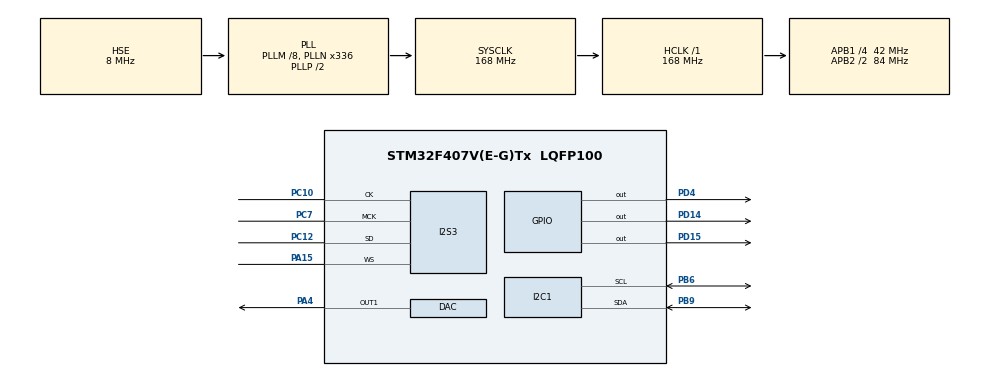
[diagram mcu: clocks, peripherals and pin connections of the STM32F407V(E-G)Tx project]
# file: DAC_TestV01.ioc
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Dma.Request0=SPI3_TX
Dma.SPI3_TX.0.Direction=DMA_MEMORY_TO_PERIPH
Dma.SPI3_TX.0.FIFOMode=DMA_FIFOMODE_ENABLE
Dma.SPI3_TX.0.FIFOThreshold=DMA_FIFO_THRESHOLD_FULL
Dma.SPI3_TX.0.Instance=DMA1_Stream5
Dma.SPI3_TX.0.MemBurst=DMA_MBURST_SINGLE
Dma.SPI3_TX.0.MemDataAlignment=DMA_MDATAALIGN_HALFWORD
Dma.SPI3_TX.0.MemInc=DMA_MINC_ENABLE
Dma.SPI3_TX.0.Mode=DMA_CIRCULAR
Dma.SPI3_TX.0.PeriphBurst=DMA_PBURST_SINGLE
Dma.SPI3_TX.0.PeriphDataAlignment=DMA_PDATAALIGN_HALFWORD
Dma.SPI3_TX.0.PeriphInc=DMA_PINC_DISABLE
Dma.SPI3_TX.0.Priority=DMA_PRIORITY_LOW
I2S3.AudioFreq=I2S_AUDIOFREQ_48K
I2S3.ErrorAudioFreq=-2.34 %
I2S3.FullDuplexMode=I2S_FULLDUPLEXMODE_DISABLE
I2S3.Instance=SPI$Index
I2S3.RealAudioFreq=46.875 KHz
I2S3.VirtualMode=I2S_MODE_MASTER
Mcu.Family=STM32F4
Mcu.Name=STM32F407V(E-G)Tx
Mcu.Package=LQFP100
NVIC.DMA1_Stream5_IRQn=true\:0\:0\:false\:false\:true\:false\:true
NVIC.PriorityGroup=NVIC_PRIORITYGROUP_0
NVIC.TIM2_IRQn=true\:0\:0\:false\:false\:true\:true\:true
PA13.Mode=Serial_Wire
PA13.Signal=SYS_JTMS-SWDIO
PA14.Mode=Serial_Wire
PA14.Signal=SYS_JTCK-SWCLK
PA15.Mode=Half_Duplex_Master
PA15.Signal=I2S3_WS
PA4.Signal=COMP_DAC1_group
PB6.Mode=I2C
PB6.Signal=I2C1_SCL
PB9.Mode=I2C
PB9.Signal=I2C1_SDA
PC10.Mode=Half_Duplex_Master
PC10.Signal=I2S3_CK
PC12.Mode=Half_Duplex_Master
PC12.Signal=I2S3_SD
PC7.Mode=Master_Clock_Activated
PC7.Signal=I2S3_MCK
PD14.Signal=GPIO_Output
PD15.Signal=GPIO_Output
PD4.Signal=GPIO_Output
PH0-OSC_IN.Mode=HSE-External-Oscillator
PH0-OSC_IN.Signal=RCC_OSC_IN
PH1-OSC_OUT.Mode=HSE-External-Oscillator
PH1-OSC_OUT.Signal=RCC_OSC_OUT
ProjectManager.HeapSize=0x200
ProjectManager.StackSize=0x400
ProjectManager.TargetToolchain=STM32CubeIDE
RCC.48MHZClocksFreq_Value=48000000
RCC.AHBFreq_Value=168000000
RCC.APB1CLKDivider=RCC_HCLK_DIV4
RCC.APB1Freq_Value=42000000
RCC.APB1TimFreq_Value=84000000
RCC.APB2CLKDivider=RCC_HCLK_DIV2
RCC.APB2Freq_Value=84000000
RCC.APB2TimFreq_Value=168000000
RCC.CortexFreq_Value=168000000
RCC.HCLKFreq_Value=168000000
RCC.HSE_VALUE=8000000
RCC.HSI_VALUE=16000000
RCC.PLLM=8
RCC.PLLN=336
RCC.PLLQ=7
RCC.PLLSourceVirtual=RCC_PLLSOURCE_HSE
RCC.SYSCLKFreq_VALUE=168000000
RCC.SYSCLKSource=RCC_SYSCLKSOURCE_PLLCLK
RCC.VCOOutputFreq_Value=336000000
SH.COMP_DAC1_group.0=DAC_OUT1,DAC_OUT1
TIM2.Period=19
TIM2.Prescaler=83
TIM2.TIM_MasterOutputTrigger=TIM_TRGO_UPDATE
VP_TIM2_VS_ClockSourceINT.Mode=Internal
board=STM32F407G-DISC1

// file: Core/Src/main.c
/* USER CODE BEGIN Header */
/**
  ******************************************************************************
  * @file           : main.c
  * @brief          : Main program body
  ******************************************************************************
  * @attention
  *
  * Copyright (c) 2022 STMicroelectronics.
  * All rights reserved.
  *
  * This software is licensed under terms that can be found in the LICENSE file
  * in the root directory of this software component.
  * If no LICENSE file comes with this software, it is provided AS-IS.
  *
  ******************************************************************************
  */
/* USER CODE END Header */
#include "main.h"

/* USER CODE BEGIN Includes */
#include "MY_CS43L22.h"
#include "math.h"
/* USER CODE END Includes */

DAC_HandleTypeDef hdac;

I2C_HandleTypeDef hi2c1;

I2S_HandleTypeDef hi2s3;
DMA_HandleTypeDef hdma_spi3_tx;

TIM_HandleTypeDef htim2;

/* USER CODE BEGIN PV */
#define PI 3.14159264f
#define F_SAMPLE 50000.0f
#define F_OUT 1000.0f
/* USER CODE END PV */

void SystemClock_Config(void);
static void MX_GPIO_Init(void);
static void MX_I2C1_Init(void);
static void MX_DMA_Init(void);
static void MX_DAC_Init(void);
static void MX_TIM2_Init(void);
static void MX_I2S3_Init(void);

/* USER CODE BEGIN 0 */
float mySinVal;
uint16_t sample_n;
float sample_dt;
uint16_t i_t;
uint32_t myDACVal;
int16_t I2S_Dummy[4];
/* USER CODE END 0 */

int main(void)
{
  /* USER CODE BEGIN 1 */
	sample_n = F_SAMPLE/F_OUT;
	sample_dt = (float) 1/sample_n;

  /* USER CODE END 1 */

  /* MCU Configuration--------------------------------------------------------*/

  /* Reset of all peripherals, Initializes the Flash interface and the Systick. */
  HAL_Init();

  /* Configure the system clock */
  SystemClock_Config();

  /* Initialize all configured peripherals */
  MX_GPIO_Init();
  MX_I2C1_Init();
  MX_DMA_Init();
  MX_DAC_Init();
  MX_TIM2_Init();
  MX_I2S3_Init();
  /* USER CODE BEGIN 2 */
  CS43_Init(hi2c1,MODE_ANALOG_CS43);
  CS43_SetVolume(50);
  CS43_Enable_RightLeft(CS43_RIGHT_LEFT);
  CS43_Start();

  HAL_I2S_Transmit_DMA(&hi2s3,(uint16_t * )I2S_Dummy,4);
  // Inicializa el dac

  HAL_DAC_Start(&hdac,DAC_CHANNEL_1);
  HAL_TIM_Base_Start_IT(&htim2);

  /* USER CODE END 2 */

  /* Infinite loop */
  while (1)
  {

    /* USER CODE BEGIN 3 */
	  HAL_GPIO_TogglePin(GPIOD,GPIO_PIN_14);
	  HAL_GPIO_WritePin(GPIOD, GPIO_PIN_4, GPIO_PIN_SET);
	  HAL_Delay(1000);
	  HAL_GPIO_TogglePin(GPIOD,GPIO_PIN_14);
	  HAL_GPIO_WritePin(GPIOD, GPIO_PIN_4, GPIO_PIN_RESET);
	  HAL_Delay(1000);

  }
  /* USER CODE END 3 */
}

void SystemClock_Config(void)
{
  RCC_OscInitTypeDef RCC_OscInitStruct = {0};
  RCC_ClkInitTypeDef RCC_ClkInitStruct = {0};

  /** Configure the main internal regulator output voltage
  */
  __HAL_RCC_PWR_CLK_ENABLE();
  __HAL_PWR_VOLTAGESCALING_CONFIG(PWR_REGULATOR_VOLTAGE_SCALE1);
  /** Initializes the RCC Oscillators according to the specified parameters
  * in the RCC_OscInitTypeDef structure.
  */
  RCC_OscInitStruct.OscillatorType = RCC_OSCILLATORTYPE_HSE;
  RCC_OscInitStruct.HSEState = RCC_HSE_ON;
  RCC_OscInitStruct.PLL.PLLState = RCC_PLL_ON;
  RCC_OscInitStruct.PLL.PLLSource = RCC_PLLSOURCE_HSE;
  RCC_OscInitStruct.PLL.PLLM = 8;
  RCC_OscInitStruct.PLL.PLLN = 336;
  RCC_OscInitStruct.PLL.PLLP = RCC_PLLP_DIV2;
  RCC_OscInitStruct.PLL.PLLQ = 7;
  if (HAL_RCC_OscConfig(&RCC_OscInitStruct) != HAL_OK)
  {
    Error_Handler();
  }
  /** Initializes the CPU, AHB and APB buses clocks
  */
  RCC_ClkInitStruct.ClockType = RCC_CLOCKTYPE_HCLK|RCC_CLOCKTYPE_SYSCLK
                              |RCC_CLOCKTYPE_PCLK1|RCC_CLOCKTYPE_PCLK2;
  RCC_ClkInitStruct.SYSCLKSource = RCC_SYSCLKSOURCE_PLLCLK;
  RCC_ClkInitStruct.AHBCLKDivider = RCC_SYSCLK_DIV1;
  RCC_ClkInitStruct.APB1CLKDivider = RCC_HCLK_DIV4;
  RCC_ClkInitStruct.APB2CLKDivider = RCC_HCLK_DIV2;

  if (HAL_RCC_ClockConfig(&RCC_ClkInitStruct, FLASH_LATENCY_5) != HAL_OK)
  {
    Error_Handler();
  }
}

static void MX_DAC_Init(void)
{

  DAC_ChannelConfTypeDef sConfig = {0};

  /** DAC Initialization
  */
  hdac.Instance = DAC;
  if (HAL_DAC_Init(&hdac) != HAL_OK)
  {
    Error_Handler();
  }
  /** DAC channel OUT1 config
  */
  sConfig.DAC_Trigger = DAC_TRIGGER_NONE;
  sConfig.DAC_OutputBuffer = DAC_OUTPUTBUFFER_ENABLE;
  if (HAL_DAC_ConfigChannel(&hdac, &sConfig, DAC_CHANNEL_1) != HAL_OK)
  {
    Error_Handler();
  }

}

static void MX_I2C1_Init(void)
{

  hi2c1.Instance = I2C1;
  hi2c1.Init.ClockSpeed = 100000;
  hi2c1.Init.DutyCycle = I2C_DUTYCYCLE_2;
  hi2c1.Init.OwnAddress1 = 0;
  hi2c1.Init.AddressingMode = I2C_ADDRESSINGMODE_7BIT;
  hi2c1.Init.DualAddressMode = I2C_DUALADDRESS_DISABLE;
  hi2c1.Init.OwnAddress2 = 0;
  hi2c1.Init.GeneralCallMode = I2C_GENERALCALL_DISABLE;
  hi2c1.Init.NoStretchMode = I2C_NOSTRETCH_DISABLE;
  if (HAL_I2C_Init(&hi2c1) != HAL_OK)
  {
    Error_Handler();
  }

}

static void MX_I2S3_Init(void)
{

  hi2s3.Instance = SPI3;
  hi2s3.Init.Mode = I2S_MODE_MASTER_TX;
  hi2s3.Init.Standard = I2S_STANDARD_PHILIPS;
  hi2s3.Init.DataFormat = I2S_DATAFORMAT_16B;
  hi2s3.Init.MCLKOutput = I2S_MCLKOUTPUT_ENABLE;
  hi2s3.Init.AudioFreq = I2S_AUDIOFREQ_48K;
  hi2s3.Init.CPOL = I2S_CPOL_LOW;
  hi2s3.Init.ClockSource = I2S_CLOCK_PLL;
  hi2s3.Init.FullDuplexMode = I2S_FULLDUPLEXMODE_DISABLE;
  if (HAL_I2S_Init(&hi2s3) != HAL_OK)
  {
    Error_Handler();
  }

}

static void MX_TIM2_Init(void)
{

  TIM_ClockConfigTypeDef sClockSourceConfig = {0};
  TIM_MasterConfigTypeDef sMasterConfig = {0};

  htim2.Instance = TIM2;
  htim2.Init.Prescaler = 83;
  htim2.Init.CounterMode = TIM_COUNTERMODE_UP;
  htim2.Init.Period = 19;
  htim2.Init.ClockDivision = TIM_CLOCKDIVISION_DIV1;
  htim2.Init.AutoReloadPreload = TIM_AUTORELOAD_PRELOAD_DISABLE;
  if (HAL_TIM_Base_Init(&htim2) != HAL_OK)
  {
    Error_Handler();
  }
  sClockSourceConfig.ClockSource = TIM_CLOCKSOURCE_INTERNAL;
  if (HAL_TIM_ConfigClockSource(&htim2, &sClockSourceConfig) != HAL_OK)
  {
    Error_Handler();
  }
  sMasterConfig.MasterOutputTrigger = TIM_TRGO_UPDATE;
  sMasterConfig.MasterSlaveMode = TIM_MASTERSLAVEMODE_DISABLE;
  if (HAL_TIMEx_MasterConfigSynchronization(&htim2, &sMasterConfig) != HAL_OK)
  {
    Error_Handler();
  }

}

static void MX_DMA_Init(void)
{

  /* DMA controller clock enable */
  __HAL_RCC_DMA1_CLK_ENABLE();

  /* DMA interrupt init */
  /* DMA1_Stream5_IRQn interrupt configuration */
  HAL_NVIC_SetPriority(DMA1_Stream5_IRQn, 0, 0);
  HAL_NVIC_EnableIRQ(DMA1_Stream5_IRQn);

}

static void MX_GPIO_Init(void)
{
  GPIO_InitTypeDef GPIO_InitStruct = {0};

  /* GPIO Ports Clock Enable */
  __HAL_RCC_GPIOH_CLK_ENABLE();
  __HAL_RCC_GPIOA_CLK_ENABLE();
  __HAL_RCC_GPIOD_CLK_ENABLE();
  __HAL_RCC_GPIOC_CLK_ENABLE();
  __HAL_RCC_GPIOB_CLK_ENABLE();

  /*Configure GPIO pin Output Level */
  HAL_GPIO_WritePin(GPIOD, GPIO_PIN_14|GPIO_PIN_15|GPIO_PIN_4, GPIO_PIN_RESET);

  /*Configure GPIO pins : PD14 PD15 PD4 */
  GPIO_InitStruct.Pin = GPIO_PIN_14|GPIO_PIN_15|GPIO_PIN_4;
  GPIO_InitStruct.Mode = GPIO_MODE_OUTPUT_PP;
  GPIO_InitStruct.Pull = GPIO_NOPULL;
  GPIO_InitStruct.Speed = GPIO_SPEED_FREQ_LOW;
  HAL_GPIO_Init(GPIOD, &GPIO_InitStruct);

}

/* USER CODE BEGIN 4 */

void HAL_TIM_PeriodElapsedCallback(TIM_HandleTypeDef *htim)
{
  /* Prevent unused argument(s) compilation warning */
  UNUSED(htim);

  /* NOTE : This function should not be modified, when the callback is needed,
            the HAL_TIM_PeriodElapsedCallback could be implemented in the user file
   */
  if (htim->Instance == TIM2){
	  mySinVal = sinf(i_t*2*PI*sample_dt);
	  myDACVal = (mySinVal+1)*127;
	  HAL_DAC_SetValue(&hdac,DAC_CHANNEL_1,DAC_ALIGN_8B_R,myDACVal);
	  i_t++;
	  if (i_t>=sample_n)i_t=0;
  }
}

/* USER CODE END 4 */

void Error_Handler(void)
{
  __disable_irq();
  while (1)
  {
  }
}
